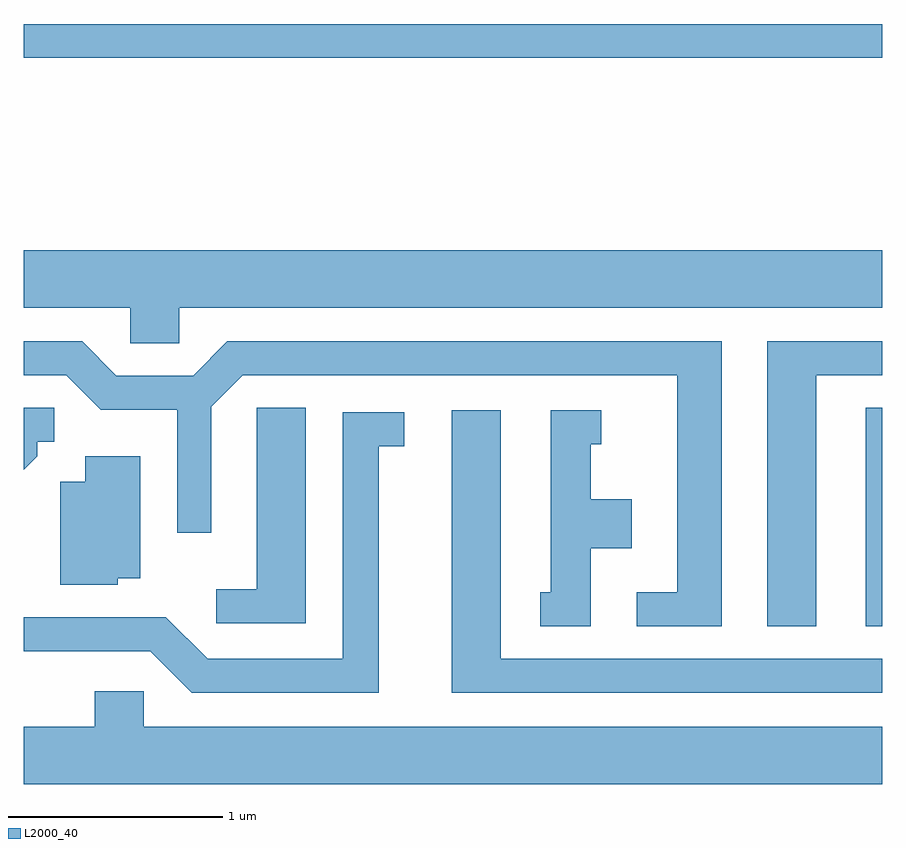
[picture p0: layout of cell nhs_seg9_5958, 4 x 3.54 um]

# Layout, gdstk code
import gdstk
lib = gdstk.Library(unit=1e-6, precision=1e-09)
def R(c, l, rs):  # rectangles x0, y0, x1, y1
    for r in rs: c.add(gdstk.rectangle(r[:2], r[2:], *l))
def P(c, l, *ps):  # polygons
    for p in ps: c.add(gdstk.Polygon(p, *l))
L2000_40 = (2000, 40)

nhs_seg9_5958 = lib.new_cell('nhs_seg9_5958')
R(nhs_seg9_5958, L2000_40, [(365.536,1959.251,365.611,1960.269), (361.611,1961.901,365.611,1962.059)])
P(nhs_seg9_5958, L2000_40, [(362.334,1960.736),(365.611,1960.736),(365.611,1961.004),(361.611,1961.004),(361.611,1960.736),(362.106,1960.736),(362.106,1960.571),(362.334,1960.571)],
  [(364.864,1960.579),(362.559,1960.579),(362.399,1960.419),(362.042,1960.419),(361.882,1960.579),(361.611,1960.579),(361.611,1960.421),(361.809,1960.421),(361.969,1960.261),(362.326,1960.261),(362.326,1959.688),(362.484,1959.688),(362.484,1960.274),(362.632,1960.421),(364.656,1960.421),(364.656,1959.409),(364.468,1959.409),(364.468,1959.251),(364.864,1959.251)],
  [(365.304,1960.421),(365.611,1960.421),(365.611,1960.579),(365.076,1960.579),(365.076,1959.251),(365.304,1959.251)],
  [(361.674,1960.044),(361.674,1960.111),(361.753,1960.111),(361.753,1960.269),(361.611,1960.269),(361.611,1959.981)],
  [(362.924,1960.269),(362.696,1960.269),(362.696,1959.424),(362.508,1959.424),(362.508,1959.266),(362.924,1959.266)],
  [(364.254,1959.616),(364.444,1959.616),(364.444,1959.844),(364.254,1959.844),(364.254,1960.101),(364.303,1960.101),(364.303,1960.259),(364.066,1960.259),(364.066,1959.409),(364.018,1959.409),(364.018,1959.251),(364.254,1959.251)],
  [(365.611,1959.099),(363.834,1959.099),(363.834,1960.259),(363.606,1960.259),(363.606,1958.941),(365.611,1958.941)],
  [(363.264,1960.091),(363.383,1960.091),(363.383,1960.249),(363.096,1960.249),(363.096,1959.099),(362.467,1959.099),(362.272,1959.294),(361.611,1959.294),(361.611,1959.136),(362.199,1959.136),(362.394,1958.941),(363.264,1958.941)],
  [(362.049,1959.476),(362.154,1959.476),(362.154,1960.044),(361.896,1960.044),(361.896,1959.924),(361.781,1959.924),(361.781,1959.446),(362.049,1959.446)],
  [(365.611,1958.784),(362.169,1958.784),(362.169,1958.949),(361.941,1958.949),(361.941,1958.784),(361.611,1958.784),(361.611,1958.516),(365.611,1958.516)])

lib.write_gds('nhs_seg9_5958.gds')
